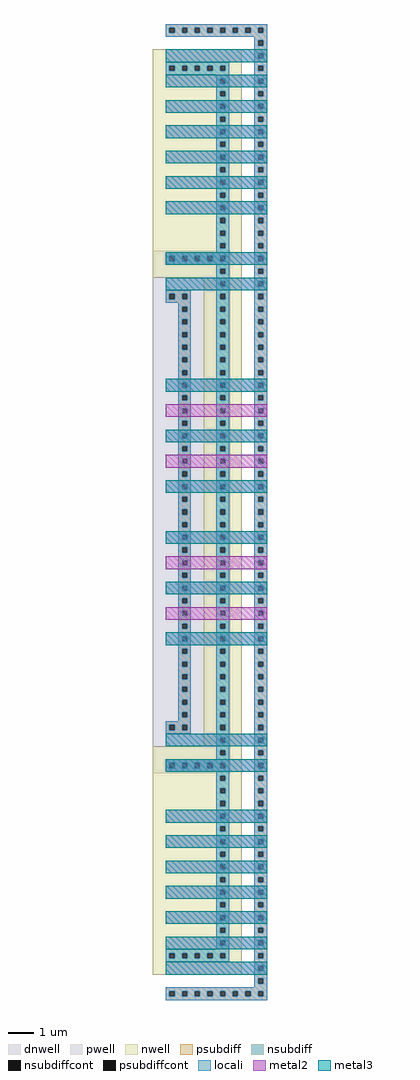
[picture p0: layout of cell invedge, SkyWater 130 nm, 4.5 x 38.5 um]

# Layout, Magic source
magic
tech sky130A
<< dnwell >>
rect 150 1995 455 4055
<< nwell >>
rect 150 3950 500 4850
rect 350 2100 500 3950
rect 150 1200 500 2100
<< pwell >>
rect 200 3850 300 3900
rect 250 2200 300 3850
rect 200 2150 300 2200
<< psubdiff >>
rect 200 4935 600 4950
rect 200 4915 215 4935
rect 235 4915 265 4935
rect 285 4915 315 4935
rect 335 4915 365 4935
rect 385 4915 415 4935
rect 435 4915 465 4935
rect 485 4915 515 4935
rect 535 4915 565 4935
rect 585 4915 600 4935
rect 200 4900 600 4915
rect 550 4885 600 4900
rect 550 4865 565 4885
rect 585 4865 600 4885
rect 550 4835 600 4865
rect 550 4815 565 4835
rect 585 4815 600 4835
rect 200 3885 300 3900
rect 200 3865 215 3885
rect 235 3865 265 3885
rect 285 3865 300 3885
rect 200 3850 300 3865
rect 250 3835 300 3850
rect 250 3815 265 3835
rect 285 3815 300 3835
rect 250 3785 300 3815
rect 250 3765 265 3785
rect 285 3765 300 3785
rect 250 3735 300 3765
rect 250 3715 265 3735
rect 285 3715 300 3735
rect 250 3685 300 3715
rect 250 3665 265 3685
rect 285 3665 300 3685
rect 250 3635 300 3665
rect 250 3615 265 3635
rect 285 3615 300 3635
rect 250 3585 300 3615
rect 250 3565 265 3585
rect 285 3565 300 3585
rect 250 3535 300 3565
rect 250 3515 265 3535
rect 285 3515 300 3535
rect 250 3485 300 3515
rect 250 3465 265 3485
rect 285 3465 300 3485
rect 250 3435 300 3465
rect 250 3415 265 3435
rect 285 3415 300 3435
rect 250 3385 300 3415
rect 250 3365 265 3385
rect 285 3365 300 3385
rect 250 3335 300 3365
rect 250 3315 265 3335
rect 285 3315 300 3335
rect 250 3285 300 3315
rect 250 3265 265 3285
rect 285 3265 300 3285
rect 250 3235 300 3265
rect 250 3215 265 3235
rect 285 3215 300 3235
rect 250 3185 300 3215
rect 250 3165 265 3185
rect 285 3165 300 3185
rect 250 3135 300 3165
rect 250 3115 265 3135
rect 285 3115 300 3135
rect 250 3085 300 3115
rect 250 3065 265 3085
rect 285 3065 300 3085
rect 250 3035 300 3065
rect 250 3015 265 3035
rect 285 3015 300 3035
rect 250 2985 300 3015
rect 250 2965 265 2985
rect 285 2965 300 2985
rect 250 2935 300 2965
rect 250 2915 265 2935
rect 285 2915 300 2935
rect 250 2885 300 2915
rect 250 2865 265 2885
rect 285 2865 300 2885
rect 250 2835 300 2865
rect 250 2815 265 2835
rect 285 2815 300 2835
rect 250 2785 300 2815
rect 250 2765 265 2785
rect 285 2765 300 2785
rect 250 2735 300 2765
rect 250 2715 265 2735
rect 285 2715 300 2735
rect 250 2685 300 2715
rect 250 2665 265 2685
rect 285 2665 300 2685
rect 250 2635 300 2665
rect 250 2615 265 2635
rect 285 2615 300 2635
rect 250 2585 300 2615
rect 250 2565 265 2585
rect 285 2565 300 2585
rect 250 2535 300 2565
rect 250 2515 265 2535
rect 285 2515 300 2535
rect 250 2485 300 2515
rect 250 2465 265 2485
rect 285 2465 300 2485
rect 250 2435 300 2465
rect 250 2415 265 2435
rect 285 2415 300 2435
rect 250 2385 300 2415
rect 250 2365 265 2385
rect 285 2365 300 2385
rect 250 2335 300 2365
rect 250 2315 265 2335
rect 285 2315 300 2335
rect 250 2285 300 2315
rect 250 2265 265 2285
rect 285 2265 300 2285
rect 250 2235 300 2265
rect 250 2215 265 2235
rect 285 2215 300 2235
rect 250 2200 300 2215
rect 200 2185 300 2200
rect 200 2165 215 2185
rect 235 2165 265 2185
rect 285 2165 300 2185
rect 200 2150 300 2165
rect 550 4785 600 4815
rect 550 4765 565 4785
rect 585 4765 600 4785
rect 550 4735 600 4765
rect 550 4715 565 4735
rect 585 4715 600 4735
rect 550 4685 600 4715
rect 550 4665 565 4685
rect 585 4665 600 4685
rect 550 4635 600 4665
rect 550 4615 565 4635
rect 585 4615 600 4635
rect 550 4585 600 4615
rect 550 4565 565 4585
rect 585 4565 600 4585
rect 550 4535 600 4565
rect 550 4515 565 4535
rect 585 4515 600 4535
rect 550 4485 600 4515
rect 550 4465 565 4485
rect 585 4465 600 4485
rect 550 4435 600 4465
rect 550 4415 565 4435
rect 585 4415 600 4435
rect 550 4385 600 4415
rect 550 4365 565 4385
rect 585 4365 600 4385
rect 550 4335 600 4365
rect 550 4315 565 4335
rect 585 4315 600 4335
rect 550 4285 600 4315
rect 550 4265 565 4285
rect 585 4265 600 4285
rect 550 4235 600 4265
rect 550 4215 565 4235
rect 585 4215 600 4235
rect 550 4185 600 4215
rect 550 4165 565 4185
rect 585 4165 600 4185
rect 550 4135 600 4165
rect 550 4115 565 4135
rect 585 4115 600 4135
rect 550 4085 600 4115
rect 550 4065 565 4085
rect 585 4065 600 4085
rect 550 4035 600 4065
rect 550 4015 565 4035
rect 585 4015 600 4035
rect 550 3985 600 4015
rect 550 3965 565 3985
rect 585 3965 600 3985
rect 550 3935 600 3965
rect 550 3915 565 3935
rect 585 3915 600 3935
rect 550 3885 600 3915
rect 550 3865 565 3885
rect 585 3865 600 3885
rect 550 3835 600 3865
rect 550 3815 565 3835
rect 585 3815 600 3835
rect 550 3785 600 3815
rect 550 3765 565 3785
rect 585 3765 600 3785
rect 550 3735 600 3765
rect 550 3715 565 3735
rect 585 3715 600 3735
rect 550 3685 600 3715
rect 550 3665 565 3685
rect 585 3665 600 3685
rect 550 3635 600 3665
rect 550 3615 565 3635
rect 585 3615 600 3635
rect 550 3585 600 3615
rect 550 3565 565 3585
rect 585 3565 600 3585
rect 550 3535 600 3565
rect 550 3515 565 3535
rect 585 3515 600 3535
rect 550 3485 600 3515
rect 550 3465 565 3485
rect 585 3465 600 3485
rect 550 3435 600 3465
rect 550 3415 565 3435
rect 585 3415 600 3435
rect 550 3385 600 3415
rect 550 3365 565 3385
rect 585 3365 600 3385
rect 550 3335 600 3365
rect 550 3315 565 3335
rect 585 3315 600 3335
rect 550 3285 600 3315
rect 550 3265 565 3285
rect 585 3265 600 3285
rect 550 3235 600 3265
rect 550 3215 565 3235
rect 585 3215 600 3235
rect 550 3185 600 3215
rect 550 3165 565 3185
rect 585 3165 600 3185
rect 550 3135 600 3165
rect 550 3115 565 3135
rect 585 3115 600 3135
rect 550 3085 600 3115
rect 550 3065 565 3085
rect 585 3065 600 3085
rect 550 3035 600 3065
rect 550 3015 565 3035
rect 585 3015 600 3035
rect 550 2985 600 3015
rect 550 2965 565 2985
rect 585 2965 600 2985
rect 550 2935 600 2965
rect 550 2915 565 2935
rect 585 2915 600 2935
rect 550 2885 600 2915
rect 550 2865 565 2885
rect 585 2865 600 2885
rect 550 2835 600 2865
rect 550 2815 565 2835
rect 585 2815 600 2835
rect 550 2785 600 2815
rect 550 2765 565 2785
rect 585 2765 600 2785
rect 550 2735 600 2765
rect 550 2715 565 2735
rect 585 2715 600 2735
rect 550 2685 600 2715
rect 550 2665 565 2685
rect 585 2665 600 2685
rect 550 2635 600 2665
rect 550 2615 565 2635
rect 585 2615 600 2635
rect 550 2585 600 2615
rect 550 2565 565 2585
rect 585 2565 600 2585
rect 550 2535 600 2565
rect 550 2515 565 2535
rect 585 2515 600 2535
rect 550 2485 600 2515
rect 550 2465 565 2485
rect 585 2465 600 2485
rect 550 2435 600 2465
rect 550 2415 565 2435
rect 585 2415 600 2435
rect 550 2385 600 2415
rect 550 2365 565 2385
rect 585 2365 600 2385
rect 550 2335 600 2365
rect 550 2315 565 2335
rect 585 2315 600 2335
rect 550 2285 600 2315
rect 550 2265 565 2285
rect 585 2265 600 2285
rect 550 2235 600 2265
rect 550 2215 565 2235
rect 585 2215 600 2235
rect 550 2185 600 2215
rect 550 2165 565 2185
rect 585 2165 600 2185
rect 550 2135 600 2165
rect 550 2115 565 2135
rect 585 2115 600 2135
rect 550 2085 600 2115
rect 550 2065 565 2085
rect 585 2065 600 2085
rect 550 2035 600 2065
rect 550 2015 565 2035
rect 585 2015 600 2035
rect 550 1985 600 2015
rect 550 1965 565 1985
rect 585 1965 600 1985
rect 550 1935 600 1965
rect 550 1915 565 1935
rect 585 1915 600 1935
rect 550 1885 600 1915
rect 550 1865 565 1885
rect 585 1865 600 1885
rect 550 1835 600 1865
rect 550 1815 565 1835
rect 585 1815 600 1835
rect 550 1785 600 1815
rect 550 1765 565 1785
rect 585 1765 600 1785
rect 550 1735 600 1765
rect 550 1715 565 1735
rect 585 1715 600 1735
rect 550 1685 600 1715
rect 550 1665 565 1685
rect 585 1665 600 1685
rect 550 1635 600 1665
rect 550 1615 565 1635
rect 585 1615 600 1635
rect 550 1585 600 1615
rect 550 1565 565 1585
rect 585 1565 600 1585
rect 550 1535 600 1565
rect 550 1515 565 1535
rect 585 1515 600 1535
rect 550 1485 600 1515
rect 550 1465 565 1485
rect 585 1465 600 1485
rect 550 1435 600 1465
rect 550 1415 565 1435
rect 585 1415 600 1435
rect 550 1385 600 1415
rect 550 1365 565 1385
rect 585 1365 600 1385
rect 550 1335 600 1365
rect 550 1315 565 1335
rect 585 1315 600 1335
rect 550 1285 600 1315
rect 550 1265 565 1285
rect 585 1265 600 1285
rect 550 1235 600 1265
rect 550 1215 565 1235
rect 585 1215 600 1235
rect 550 1185 600 1215
rect 550 1165 565 1185
rect 585 1165 600 1185
rect 550 1150 600 1165
rect 200 1135 600 1150
rect 200 1115 215 1135
rect 235 1115 265 1135
rect 285 1115 315 1135
rect 335 1115 365 1135
rect 385 1115 415 1135
rect 435 1115 465 1135
rect 485 1115 515 1135
rect 535 1115 565 1135
rect 585 1115 600 1135
rect 200 1100 600 1115
<< nsubdiff >>
rect 200 4785 450 4800
rect 200 4765 215 4785
rect 235 4765 265 4785
rect 285 4765 315 4785
rect 335 4765 365 4785
rect 385 4765 415 4785
rect 435 4765 450 4785
rect 200 4750 450 4765
rect 400 4735 450 4750
rect 400 4715 415 4735
rect 435 4715 450 4735
rect 400 4685 450 4715
rect 400 4665 415 4685
rect 435 4665 450 4685
rect 400 4635 450 4665
rect 400 4615 415 4635
rect 435 4615 450 4635
rect 400 4585 450 4615
rect 400 4565 415 4585
rect 435 4565 450 4585
rect 400 4535 450 4565
rect 400 4515 415 4535
rect 435 4515 450 4535
rect 400 4485 450 4515
rect 400 4465 415 4485
rect 435 4465 450 4485
rect 400 4435 450 4465
rect 400 4415 415 4435
rect 435 4415 450 4435
rect 400 4385 450 4415
rect 400 4365 415 4385
rect 435 4365 450 4385
rect 400 4335 450 4365
rect 400 4315 415 4335
rect 435 4315 450 4335
rect 400 4285 450 4315
rect 400 4265 415 4285
rect 435 4265 450 4285
rect 400 4235 450 4265
rect 400 4215 415 4235
rect 435 4215 450 4235
rect 400 4185 450 4215
rect 400 4165 415 4185
rect 435 4165 450 4185
rect 400 4135 450 4165
rect 400 4115 415 4135
rect 435 4115 450 4135
rect 400 4085 450 4115
rect 400 4065 415 4085
rect 435 4065 450 4085
rect 400 4050 450 4065
rect 200 4035 450 4050
rect 200 4015 215 4035
rect 235 4015 265 4035
rect 285 4015 315 4035
rect 335 4015 365 4035
rect 385 4015 415 4035
rect 435 4015 450 4035
rect 200 4000 450 4015
rect 400 3985 450 4000
rect 400 3965 415 3985
rect 435 3965 450 3985
rect 400 3935 450 3965
rect 400 3915 415 3935
rect 435 3915 450 3935
rect 400 3885 450 3915
rect 400 3865 415 3885
rect 435 3865 450 3885
rect 400 3835 450 3865
rect 400 3815 415 3835
rect 435 3815 450 3835
rect 400 3785 450 3815
rect 400 3765 415 3785
rect 435 3765 450 3785
rect 400 3735 450 3765
rect 400 3715 415 3735
rect 435 3715 450 3735
rect 400 3685 450 3715
rect 400 3665 415 3685
rect 435 3665 450 3685
rect 400 3635 450 3665
rect 400 3615 415 3635
rect 435 3615 450 3635
rect 400 3585 450 3615
rect 400 3565 415 3585
rect 435 3565 450 3585
rect 400 3535 450 3565
rect 400 3515 415 3535
rect 435 3515 450 3535
rect 400 3485 450 3515
rect 400 3465 415 3485
rect 435 3465 450 3485
rect 400 3435 450 3465
rect 400 3415 415 3435
rect 435 3415 450 3435
rect 400 3385 450 3415
rect 400 3365 415 3385
rect 435 3365 450 3385
rect 400 3335 450 3365
rect 400 3315 415 3335
rect 435 3315 450 3335
rect 400 3285 450 3315
rect 400 3265 415 3285
rect 435 3265 450 3285
rect 400 3235 450 3265
rect 400 3215 415 3235
rect 435 3215 450 3235
rect 400 3185 450 3215
rect 400 3165 415 3185
rect 435 3165 450 3185
rect 400 3135 450 3165
rect 400 3115 415 3135
rect 435 3115 450 3135
rect 400 3085 450 3115
rect 400 3065 415 3085
rect 435 3065 450 3085
rect 400 3035 450 3065
rect 400 3015 415 3035
rect 435 3015 450 3035
rect 400 2985 450 3015
rect 400 2965 415 2985
rect 435 2965 450 2985
rect 400 2935 450 2965
rect 400 2915 415 2935
rect 435 2915 450 2935
rect 400 2885 450 2915
rect 400 2865 415 2885
rect 435 2865 450 2885
rect 400 2835 450 2865
rect 400 2815 415 2835
rect 435 2815 450 2835
rect 400 2785 450 2815
rect 400 2765 415 2785
rect 435 2765 450 2785
rect 400 2735 450 2765
rect 400 2715 415 2735
rect 435 2715 450 2735
rect 400 2685 450 2715
rect 400 2665 415 2685
rect 435 2665 450 2685
rect 400 2635 450 2665
rect 400 2615 415 2635
rect 435 2615 450 2635
rect 400 2585 450 2615
rect 400 2565 415 2585
rect 435 2565 450 2585
rect 400 2535 450 2565
rect 400 2515 415 2535
rect 435 2515 450 2535
rect 400 2485 450 2515
rect 400 2465 415 2485
rect 435 2465 450 2485
rect 400 2435 450 2465
rect 400 2415 415 2435
rect 435 2415 450 2435
rect 400 2385 450 2415
rect 400 2365 415 2385
rect 435 2365 450 2385
rect 400 2335 450 2365
rect 400 2315 415 2335
rect 435 2315 450 2335
rect 400 2285 450 2315
rect 400 2265 415 2285
rect 435 2265 450 2285
rect 400 2235 450 2265
rect 400 2215 415 2235
rect 435 2215 450 2235
rect 400 2185 450 2215
rect 400 2165 415 2185
rect 435 2165 450 2185
rect 400 2135 450 2165
rect 400 2115 415 2135
rect 435 2115 450 2135
rect 400 2085 450 2115
rect 400 2065 415 2085
rect 435 2065 450 2085
rect 400 2050 450 2065
rect 200 2035 450 2050
rect 200 2015 215 2035
rect 235 2015 265 2035
rect 285 2015 315 2035
rect 335 2015 365 2035
rect 385 2015 415 2035
rect 435 2015 450 2035
rect 200 2000 450 2015
rect 400 1985 450 2000
rect 400 1965 415 1985
rect 435 1965 450 1985
rect 400 1935 450 1965
rect 400 1915 415 1935
rect 435 1915 450 1935
rect 400 1885 450 1915
rect 400 1865 415 1885
rect 435 1865 450 1885
rect 400 1835 450 1865
rect 400 1815 415 1835
rect 435 1815 450 1835
rect 400 1785 450 1815
rect 400 1765 415 1785
rect 435 1765 450 1785
rect 400 1735 450 1765
rect 400 1715 415 1735
rect 435 1715 450 1735
rect 400 1685 450 1715
rect 400 1665 415 1685
rect 435 1665 450 1685
rect 400 1635 450 1665
rect 400 1615 415 1635
rect 435 1615 450 1635
rect 400 1585 450 1615
rect 400 1565 415 1585
rect 435 1565 450 1585
rect 400 1535 450 1565
rect 400 1515 415 1535
rect 435 1515 450 1535
rect 400 1485 450 1515
rect 400 1465 415 1485
rect 435 1465 450 1485
rect 400 1435 450 1465
rect 400 1415 415 1435
rect 435 1415 450 1435
rect 400 1385 450 1415
rect 400 1365 415 1385
rect 435 1365 450 1385
rect 400 1335 450 1365
rect 400 1315 415 1335
rect 435 1315 450 1335
rect 400 1300 450 1315
rect 200 1285 450 1300
rect 200 1265 215 1285
rect 235 1265 265 1285
rect 285 1265 315 1285
rect 335 1265 365 1285
rect 385 1265 415 1285
rect 435 1265 450 1285
rect 200 1250 450 1265
<< psubdiffcont >>
rect 215 4915 235 4935
rect 265 4915 285 4935
rect 315 4915 335 4935
rect 365 4915 385 4935
rect 415 4915 435 4935
rect 465 4915 485 4935
rect 515 4915 535 4935
rect 565 4915 585 4935
rect 565 4865 585 4885
rect 565 4815 585 4835
rect 215 3865 235 3885
rect 265 3865 285 3885
rect 265 3815 285 3835
rect 265 3765 285 3785
rect 265 3715 285 3735
rect 265 3665 285 3685
rect 265 3615 285 3635
rect 265 3565 285 3585
rect 265 3515 285 3535
rect 265 3465 285 3485
rect 265 3415 285 3435
rect 265 3365 285 3385
rect 265 3315 285 3335
rect 265 3265 285 3285
rect 265 3215 285 3235
rect 265 3165 285 3185
rect 265 3115 285 3135
rect 265 3065 285 3085
rect 265 3015 285 3035
rect 265 2965 285 2985
rect 265 2915 285 2935
rect 265 2865 285 2885
rect 265 2815 285 2835
rect 265 2765 285 2785
rect 265 2715 285 2735
rect 265 2665 285 2685
rect 265 2615 285 2635
rect 265 2565 285 2585
rect 265 2515 285 2535
rect 265 2465 285 2485
rect 265 2415 285 2435
rect 265 2365 285 2385
rect 265 2315 285 2335
rect 265 2265 285 2285
rect 265 2215 285 2235
rect 215 2165 235 2185
rect 265 2165 285 2185
rect 565 4765 585 4785
rect 565 4715 585 4735
rect 565 4665 585 4685
rect 565 4615 585 4635
rect 565 4565 585 4585
rect 565 4515 585 4535
rect 565 4465 585 4485
rect 565 4415 585 4435
rect 565 4365 585 4385
rect 565 4315 585 4335
rect 565 4265 585 4285
rect 565 4215 585 4235
rect 565 4165 585 4185
rect 565 4115 585 4135
rect 565 4065 585 4085
rect 565 4015 585 4035
rect 565 3965 585 3985
rect 565 3915 585 3935
rect 565 3865 585 3885
rect 565 3815 585 3835
rect 565 3765 585 3785
rect 565 3715 585 3735
rect 565 3665 585 3685
rect 565 3615 585 3635
rect 565 3565 585 3585
rect 565 3515 585 3535
rect 565 3465 585 3485
rect 565 3415 585 3435
rect 565 3365 585 3385
rect 565 3315 585 3335
rect 565 3265 585 3285
rect 565 3215 585 3235
rect 565 3165 585 3185
rect 565 3115 585 3135
rect 565 3065 585 3085
rect 565 3015 585 3035
rect 565 2965 585 2985
rect 565 2915 585 2935
rect 565 2865 585 2885
rect 565 2815 585 2835
rect 565 2765 585 2785
rect 565 2715 585 2735
rect 565 2665 585 2685
rect 565 2615 585 2635
rect 565 2565 585 2585
rect 565 2515 585 2535
rect 565 2465 585 2485
rect 565 2415 585 2435
rect 565 2365 585 2385
rect 565 2315 585 2335
rect 565 2265 585 2285
rect 565 2215 585 2235
rect 565 2165 585 2185
rect 565 2115 585 2135
rect 565 2065 585 2085
rect 565 2015 585 2035
rect 565 1965 585 1985
rect 565 1915 585 1935
rect 565 1865 585 1885
rect 565 1815 585 1835
rect 565 1765 585 1785
rect 565 1715 585 1735
rect 565 1665 585 1685
rect 565 1615 585 1635
rect 565 1565 585 1585
rect 565 1515 585 1535
rect 565 1465 585 1485
rect 565 1415 585 1435
rect 565 1365 585 1385
rect 565 1315 585 1335
rect 565 1265 585 1285
rect 565 1215 585 1235
rect 565 1165 585 1185
rect 215 1115 235 1135
rect 265 1115 285 1135
rect 315 1115 335 1135
rect 365 1115 385 1135
rect 415 1115 435 1135
rect 465 1115 485 1135
rect 515 1115 535 1135
rect 565 1115 585 1135
<< nsubdiffcont >>
rect 215 4765 235 4785
rect 265 4765 285 4785
rect 315 4765 335 4785
rect 365 4765 385 4785
rect 415 4765 435 4785
rect 415 4715 435 4735
rect 415 4665 435 4685
rect 415 4615 435 4635
rect 415 4565 435 4585
rect 415 4515 435 4535
rect 415 4465 435 4485
rect 415 4415 435 4435
rect 415 4365 435 4385
rect 415 4315 435 4335
rect 415 4265 435 4285
rect 415 4215 435 4235
rect 415 4165 435 4185
rect 415 4115 435 4135
rect 415 4065 435 4085
rect 215 4015 235 4035
rect 265 4015 285 4035
rect 315 4015 335 4035
rect 365 4015 385 4035
rect 415 4015 435 4035
rect 415 3965 435 3985
rect 415 3915 435 3935
rect 415 3865 435 3885
rect 415 3815 435 3835
rect 415 3765 435 3785
rect 415 3715 435 3735
rect 415 3665 435 3685
rect 415 3615 435 3635
rect 415 3565 435 3585
rect 415 3515 435 3535
rect 415 3465 435 3485
rect 415 3415 435 3435
rect 415 3365 435 3385
rect 415 3315 435 3335
rect 415 3265 435 3285
rect 415 3215 435 3235
rect 415 3165 435 3185
rect 415 3115 435 3135
rect 415 3065 435 3085
rect 415 3015 435 3035
rect 415 2965 435 2985
rect 415 2915 435 2935
rect 415 2865 435 2885
rect 415 2815 435 2835
rect 415 2765 435 2785
rect 415 2715 435 2735
rect 415 2665 435 2685
rect 415 2615 435 2635
rect 415 2565 435 2585
rect 415 2515 435 2535
rect 415 2465 435 2485
rect 415 2415 435 2435
rect 415 2365 435 2385
rect 415 2315 435 2335
rect 415 2265 435 2285
rect 415 2215 435 2235
rect 415 2165 435 2185
rect 415 2115 435 2135
rect 415 2065 435 2085
rect 215 2015 235 2035
rect 265 2015 285 2035
rect 315 2015 335 2035
rect 365 2015 385 2035
rect 415 2015 435 2035
rect 415 1965 435 1985
rect 415 1915 435 1935
rect 415 1865 435 1885
rect 415 1815 435 1835
rect 415 1765 435 1785
rect 415 1715 435 1735
rect 415 1665 435 1685
rect 415 1615 435 1635
rect 415 1565 435 1585
rect 415 1515 435 1535
rect 415 1465 435 1485
rect 415 1415 435 1435
rect 415 1365 435 1385
rect 415 1315 435 1335
rect 215 1265 235 1285
rect 265 1265 285 1285
rect 315 1265 335 1285
rect 365 1265 385 1285
rect 415 1265 435 1285
<< locali >>
rect 200 4935 600 4950
rect 200 4915 215 4935
rect 235 4915 265 4935
rect 285 4915 315 4935
rect 335 4915 365 4935
rect 385 4915 415 4935
rect 435 4915 465 4935
rect 485 4915 515 4935
rect 535 4915 565 4935
rect 585 4915 600 4935
rect 200 4900 600 4915
rect 550 4885 600 4900
rect 550 4865 565 4885
rect 585 4865 600 4885
rect 550 4835 600 4865
rect 550 4815 565 4835
rect 585 4815 600 4835
rect 200 4785 450 4800
rect 200 4765 215 4785
rect 235 4765 265 4785
rect 285 4765 315 4785
rect 335 4765 365 4785
rect 385 4765 415 4785
rect 435 4765 450 4785
rect 200 4750 450 4765
rect 400 4735 450 4750
rect 400 4715 415 4735
rect 435 4715 450 4735
rect 400 4685 450 4715
rect 400 4665 415 4685
rect 435 4665 450 4685
rect 400 4635 450 4665
rect 400 4615 415 4635
rect 435 4615 450 4635
rect 400 4585 450 4615
rect 400 4565 415 4585
rect 435 4565 450 4585
rect 400 4535 450 4565
rect 400 4515 415 4535
rect 435 4515 450 4535
rect 400 4485 450 4515
rect 400 4465 415 4485
rect 435 4465 450 4485
rect 400 4435 450 4465
rect 400 4415 415 4435
rect 435 4415 450 4435
rect 400 4385 450 4415
rect 400 4365 415 4385
rect 435 4365 450 4385
rect 400 4335 450 4365
rect 400 4315 415 4335
rect 435 4315 450 4335
rect 400 4285 450 4315
rect 400 4265 415 4285
rect 435 4265 450 4285
rect 400 4235 450 4265
rect 400 4215 415 4235
rect 435 4215 450 4235
rect 400 4185 450 4215
rect 400 4165 415 4185
rect 435 4165 450 4185
rect 400 4135 450 4165
rect 400 4115 415 4135
rect 435 4115 450 4135
rect 400 4085 450 4115
rect 400 4065 415 4085
rect 435 4065 450 4085
rect 400 4050 450 4065
rect 200 4035 450 4050
rect 200 4015 215 4035
rect 235 4015 265 4035
rect 285 4015 315 4035
rect 335 4015 365 4035
rect 385 4015 415 4035
rect 435 4015 450 4035
rect 200 4000 450 4015
rect 400 3985 450 4000
rect 400 3965 415 3985
rect 435 3965 450 3985
rect 400 3935 450 3965
rect 400 3915 415 3935
rect 435 3915 450 3935
rect 200 3885 300 3900
rect 200 3865 215 3885
rect 235 3865 265 3885
rect 285 3865 300 3885
rect 200 3850 300 3865
rect 250 3835 300 3850
rect 250 3815 265 3835
rect 285 3815 300 3835
rect 250 3785 300 3815
rect 250 3765 265 3785
rect 285 3765 300 3785
rect 250 3735 300 3765
rect 250 3715 265 3735
rect 285 3715 300 3735
rect 250 3685 300 3715
rect 250 3665 265 3685
rect 285 3665 300 3685
rect 250 3635 300 3665
rect 250 3615 265 3635
rect 285 3615 300 3635
rect 250 3585 300 3615
rect 250 3565 265 3585
rect 285 3565 300 3585
rect 250 3535 300 3565
rect 250 3515 265 3535
rect 285 3515 300 3535
rect 250 3485 300 3515
rect 250 3465 265 3485
rect 285 3465 300 3485
rect 250 3435 300 3465
rect 250 3415 265 3435
rect 285 3415 300 3435
rect 250 3385 300 3415
rect 250 3365 265 3385
rect 285 3365 300 3385
rect 250 3335 300 3365
rect 250 3315 265 3335
rect 285 3315 300 3335
rect 250 3285 300 3315
rect 250 3265 265 3285
rect 285 3265 300 3285
rect 250 3235 300 3265
rect 250 3215 265 3235
rect 285 3215 300 3235
rect 250 3185 300 3215
rect 250 3165 265 3185
rect 285 3165 300 3185
rect 250 3135 300 3165
rect 250 3115 265 3135
rect 285 3115 300 3135
rect 250 3085 300 3115
rect 250 3065 265 3085
rect 285 3065 300 3085
rect 250 3035 300 3065
rect 250 3015 265 3035
rect 285 3015 300 3035
rect 250 2985 300 3015
rect 250 2965 265 2985
rect 285 2965 300 2985
rect 250 2935 300 2965
rect 250 2915 265 2935
rect 285 2915 300 2935
rect 250 2885 300 2915
rect 250 2865 265 2885
rect 285 2865 300 2885
rect 250 2835 300 2865
rect 250 2815 265 2835
rect 285 2815 300 2835
rect 250 2785 300 2815
rect 250 2765 265 2785
rect 285 2765 300 2785
rect 250 2735 300 2765
rect 250 2715 265 2735
rect 285 2715 300 2735
rect 250 2685 300 2715
rect 250 2665 265 2685
rect 285 2665 300 2685
rect 250 2635 300 2665
rect 250 2615 265 2635
rect 285 2615 300 2635
rect 250 2585 300 2615
rect 250 2565 265 2585
rect 285 2565 300 2585
rect 250 2535 300 2565
rect 250 2515 265 2535
rect 285 2515 300 2535
rect 250 2485 300 2515
rect 250 2465 265 2485
rect 285 2465 300 2485
rect 250 2435 300 2465
rect 250 2415 265 2435
rect 285 2415 300 2435
rect 250 2385 300 2415
rect 250 2365 265 2385
rect 285 2365 300 2385
rect 250 2335 300 2365
rect 250 2315 265 2335
rect 285 2315 300 2335
rect 250 2285 300 2315
rect 250 2265 265 2285
rect 285 2265 300 2285
rect 250 2235 300 2265
rect 250 2215 265 2235
rect 285 2215 300 2235
rect 250 2200 300 2215
rect 200 2185 300 2200
rect 200 2165 215 2185
rect 235 2165 265 2185
rect 285 2165 300 2185
rect 200 2150 300 2165
rect 400 3885 450 3915
rect 400 3865 415 3885
rect 435 3865 450 3885
rect 400 3835 450 3865
rect 400 3815 415 3835
rect 435 3815 450 3835
rect 400 3785 450 3815
rect 400 3765 415 3785
rect 435 3765 450 3785
rect 400 3735 450 3765
rect 400 3715 415 3735
rect 435 3715 450 3735
rect 400 3685 450 3715
rect 400 3665 415 3685
rect 435 3665 450 3685
rect 400 3635 450 3665
rect 400 3615 415 3635
rect 435 3615 450 3635
rect 400 3585 450 3615
rect 400 3565 415 3585
rect 435 3565 450 3585
rect 400 3535 450 3565
rect 400 3515 415 3535
rect 435 3515 450 3535
rect 400 3485 450 3515
rect 400 3465 415 3485
rect 435 3465 450 3485
rect 400 3435 450 3465
rect 400 3415 415 3435
rect 435 3415 450 3435
rect 400 3385 450 3415
rect 400 3365 415 3385
rect 435 3365 450 3385
rect 400 3335 450 3365
rect 400 3315 415 3335
rect 435 3315 450 3335
rect 400 3285 450 3315
rect 400 3265 415 3285
rect 435 3265 450 3285
rect 400 3235 450 3265
rect 400 3215 415 3235
rect 435 3215 450 3235
rect 400 3185 450 3215
rect 400 3165 415 3185
rect 435 3165 450 3185
rect 400 3135 450 3165
rect 400 3115 415 3135
rect 435 3115 450 3135
rect 400 3085 450 3115
rect 400 3065 415 3085
rect 435 3065 450 3085
rect 400 3035 450 3065
rect 400 3015 415 3035
rect 435 3015 450 3035
rect 400 2985 450 3015
rect 400 2965 415 2985
rect 435 2965 450 2985
rect 400 2935 450 2965
rect 400 2915 415 2935
rect 435 2915 450 2935
rect 400 2885 450 2915
rect 400 2865 415 2885
rect 435 2865 450 2885
rect 400 2835 450 2865
rect 400 2815 415 2835
rect 435 2815 450 2835
rect 400 2785 450 2815
rect 400 2765 415 2785
rect 435 2765 450 2785
rect 400 2735 450 2765
rect 400 2715 415 2735
rect 435 2715 450 2735
rect 400 2685 450 2715
rect 400 2665 415 2685
rect 435 2665 450 2685
rect 400 2635 450 2665
rect 400 2615 415 2635
rect 435 2615 450 2635
rect 400 2585 450 2615
rect 400 2565 415 2585
rect 435 2565 450 2585
rect 400 2535 450 2565
rect 400 2515 415 2535
rect 435 2515 450 2535
rect 400 2485 450 2515
rect 400 2465 415 2485
rect 435 2465 450 2485
rect 400 2435 450 2465
rect 400 2415 415 2435
rect 435 2415 450 2435
rect 400 2385 450 2415
rect 400 2365 415 2385
rect 435 2365 450 2385
rect 400 2335 450 2365
rect 400 2315 415 2335
rect 435 2315 450 2335
rect 400 2285 450 2315
rect 400 2265 415 2285
rect 435 2265 450 2285
rect 400 2235 450 2265
rect 400 2215 415 2235
rect 435 2215 450 2235
rect 400 2185 450 2215
rect 400 2165 415 2185
rect 435 2165 450 2185
rect 400 2135 450 2165
rect 400 2115 415 2135
rect 435 2115 450 2135
rect 400 2085 450 2115
rect 400 2065 415 2085
rect 435 2065 450 2085
rect 400 2050 450 2065
rect 200 2035 450 2050
rect 200 2015 215 2035
rect 235 2015 265 2035
rect 285 2015 315 2035
rect 335 2015 365 2035
rect 385 2015 415 2035
rect 435 2015 450 2035
rect 200 2000 450 2015
rect 400 1985 450 2000
rect 400 1965 415 1985
rect 435 1965 450 1985
rect 400 1935 450 1965
rect 400 1915 415 1935
rect 435 1915 450 1935
rect 400 1885 450 1915
rect 400 1865 415 1885
rect 435 1865 450 1885
rect 400 1835 450 1865
rect 400 1815 415 1835
rect 435 1815 450 1835
rect 400 1785 450 1815
rect 400 1765 415 1785
rect 435 1765 450 1785
rect 400 1735 450 1765
rect 400 1715 415 1735
rect 435 1715 450 1735
rect 400 1685 450 1715
rect 400 1665 415 1685
rect 435 1665 450 1685
rect 400 1635 450 1665
rect 400 1615 415 1635
rect 435 1615 450 1635
rect 400 1585 450 1615
rect 400 1565 415 1585
rect 435 1565 450 1585
rect 400 1535 450 1565
rect 400 1515 415 1535
rect 435 1515 450 1535
rect 400 1485 450 1515
rect 400 1465 415 1485
rect 435 1465 450 1485
rect 400 1435 450 1465
rect 400 1415 415 1435
rect 435 1415 450 1435
rect 400 1385 450 1415
rect 400 1365 415 1385
rect 435 1365 450 1385
rect 400 1335 450 1365
rect 400 1315 415 1335
rect 435 1315 450 1335
rect 400 1300 450 1315
rect 200 1285 450 1300
rect 200 1265 215 1285
rect 235 1265 265 1285
rect 285 1265 315 1285
rect 335 1265 365 1285
rect 385 1265 415 1285
rect 435 1265 450 1285
rect 200 1250 450 1265
rect 550 4785 600 4815
rect 550 4765 565 4785
rect 585 4765 600 4785
rect 550 4735 600 4765
rect 550 4715 565 4735
rect 585 4715 600 4735
rect 550 4685 600 4715
rect 550 4665 565 4685
rect 585 4665 600 4685
rect 550 4635 600 4665
rect 550 4615 565 4635
rect 585 4615 600 4635
rect 550 4585 600 4615
rect 550 4565 565 4585
rect 585 4565 600 4585
rect 550 4535 600 4565
rect 550 4515 565 4535
rect 585 4515 600 4535
rect 550 4485 600 4515
rect 550 4465 565 4485
rect 585 4465 600 4485
rect 550 4435 600 4465
rect 550 4415 565 4435
rect 585 4415 600 4435
rect 550 4385 600 4415
rect 550 4365 565 4385
rect 585 4365 600 4385
rect 550 4335 600 4365
rect 550 4315 565 4335
rect 585 4315 600 4335
rect 550 4285 600 4315
rect 550 4265 565 4285
rect 585 4265 600 4285
rect 550 4235 600 4265
rect 550 4215 565 4235
rect 585 4215 600 4235
rect 550 4185 600 4215
rect 550 4165 565 4185
rect 585 4165 600 4185
rect 550 4135 600 4165
rect 550 4115 565 4135
rect 585 4115 600 4135
rect 550 4085 600 4115
rect 550 4065 565 4085
rect 585 4065 600 4085
rect 550 4035 600 4065
rect 550 4015 565 4035
rect 585 4015 600 4035
rect 550 3985 600 4015
rect 550 3965 565 3985
rect 585 3965 600 3985
rect 550 3935 600 3965
rect 550 3915 565 3935
rect 585 3915 600 3935
rect 550 3885 600 3915
rect 550 3865 565 3885
rect 585 3865 600 3885
rect 550 3835 600 3865
rect 550 3815 565 3835
rect 585 3815 600 3835
rect 550 3785 600 3815
rect 550 3765 565 3785
rect 585 3765 600 3785
rect 550 3735 600 3765
rect 550 3715 565 3735
rect 585 3715 600 3735
rect 550 3685 600 3715
rect 550 3665 565 3685
rect 585 3665 600 3685
rect 550 3635 600 3665
rect 550 3615 565 3635
rect 585 3615 600 3635
rect 550 3585 600 3615
rect 550 3565 565 3585
rect 585 3565 600 3585
rect 550 3535 600 3565
rect 550 3515 565 3535
rect 585 3515 600 3535
rect 550 3485 600 3515
rect 550 3465 565 3485
rect 585 3465 600 3485
rect 550 3435 600 3465
rect 550 3415 565 3435
rect 585 3415 600 3435
rect 550 3385 600 3415
rect 550 3365 565 3385
rect 585 3365 600 3385
rect 550 3335 600 3365
rect 550 3315 565 3335
rect 585 3315 600 3335
rect 550 3285 600 3315
rect 550 3265 565 3285
rect 585 3265 600 3285
rect 550 3235 600 3265
rect 550 3215 565 3235
rect 585 3215 600 3235
rect 550 3185 600 3215
rect 550 3165 565 3185
rect 585 3165 600 3185
rect 550 3135 600 3165
rect 550 3115 565 3135
rect 585 3115 600 3135
rect 550 3085 600 3115
rect 550 3065 565 3085
rect 585 3065 600 3085
rect 550 3035 600 3065
rect 550 3015 565 3035
rect 585 3015 600 3035
rect 550 2985 600 3015
rect 550 2965 565 2985
rect 585 2965 600 2985
rect 550 2935 600 2965
rect 550 2915 565 2935
rect 585 2915 600 2935
rect 550 2885 600 2915
rect 550 2865 565 2885
rect 585 2865 600 2885
rect 550 2835 600 2865
rect 550 2815 565 2835
rect 585 2815 600 2835
rect 550 2785 600 2815
rect 550 2765 565 2785
rect 585 2765 600 2785
rect 550 2735 600 2765
rect 550 2715 565 2735
rect 585 2715 600 2735
rect 550 2685 600 2715
rect 550 2665 565 2685
rect 585 2665 600 2685
rect 550 2635 600 2665
rect 550 2615 565 2635
rect 585 2615 600 2635
rect 550 2585 600 2615
rect 550 2565 565 2585
rect 585 2565 600 2585
rect 550 2535 600 2565
rect 550 2515 565 2535
rect 585 2515 600 2535
rect 550 2485 600 2515
rect 550 2465 565 2485
rect 585 2465 600 2485
rect 550 2435 600 2465
rect 550 2415 565 2435
rect 585 2415 600 2435
rect 550 2385 600 2415
rect 550 2365 565 2385
rect 585 2365 600 2385
rect 550 2335 600 2365
rect 550 2315 565 2335
rect 585 2315 600 2335
rect 550 2285 600 2315
rect 550 2265 565 2285
rect 585 2265 600 2285
rect 550 2235 600 2265
rect 550 2215 565 2235
rect 585 2215 600 2235
rect 550 2185 600 2215
rect 550 2165 565 2185
rect 585 2165 600 2185
rect 550 2135 600 2165
rect 550 2115 565 2135
rect 585 2115 600 2135
rect 550 2085 600 2115
rect 550 2065 565 2085
rect 585 2065 600 2085
rect 550 2035 600 2065
rect 550 2015 565 2035
rect 585 2015 600 2035
rect 550 1985 600 2015
rect 550 1965 565 1985
rect 585 1965 600 1985
rect 550 1935 600 1965
rect 550 1915 565 1935
rect 585 1915 600 1935
rect 550 1885 600 1915
rect 550 1865 565 1885
rect 585 1865 600 1885
rect 550 1835 600 1865
rect 550 1815 565 1835
rect 585 1815 600 1835
rect 550 1785 600 1815
rect 550 1765 565 1785
rect 585 1765 600 1785
rect 550 1735 600 1765
rect 550 1715 565 1735
rect 585 1715 600 1735
rect 550 1685 600 1715
rect 550 1665 565 1685
rect 585 1665 600 1685
rect 550 1635 600 1665
rect 550 1615 565 1635
rect 585 1615 600 1635
rect 550 1585 600 1615
rect 550 1565 565 1585
rect 585 1565 600 1585
rect 550 1535 600 1565
rect 550 1515 565 1535
rect 585 1515 600 1535
rect 550 1485 600 1515
rect 550 1465 565 1485
rect 585 1465 600 1485
rect 550 1435 600 1465
rect 550 1415 565 1435
rect 585 1415 600 1435
rect 550 1385 600 1415
rect 550 1365 565 1385
rect 585 1365 600 1385
rect 550 1335 600 1365
rect 550 1315 565 1335
rect 585 1315 600 1335
rect 550 1285 600 1315
rect 550 1265 565 1285
rect 585 1265 600 1285
rect 550 1235 600 1265
rect 550 1215 565 1235
rect 585 1215 600 1235
rect 550 1185 600 1215
rect 550 1165 565 1185
rect 585 1165 600 1185
rect 550 1150 600 1165
rect 200 1135 600 1150
rect 200 1115 215 1135
rect 235 1115 265 1135
rect 285 1115 315 1135
rect 335 1115 365 1135
rect 385 1115 415 1135
rect 435 1115 465 1135
rect 485 1115 515 1135
rect 535 1115 565 1135
rect 585 1115 600 1135
rect 200 1100 600 1115
<< metal2 >>
rect 200 4800 600 4850
rect 200 4700 600 4750
rect 200 4600 600 4650
rect 200 4500 600 4550
rect 200 4400 600 4450
rect 200 4300 600 4350
rect 200 4200 600 4250
rect 200 4000 600 4050
rect 200 3900 600 3950
rect 200 3500 600 3550
rect 200 3400 600 3450
rect 200 3300 600 3350
rect 200 3200 600 3250
rect 200 3100 600 3150
rect 200 2900 600 2950
rect 200 2800 600 2850
rect 200 2700 600 2750
rect 200 2600 600 2650
rect 200 2500 600 2550
rect 200 2100 600 2150
rect 200 2000 600 2050
rect 200 1800 600 1850
rect 200 1700 600 1750
rect 200 1600 600 1650
rect 200 1500 600 1550
rect 200 1400 600 1450
rect 200 1300 600 1350
rect 200 1200 600 1250
<< metal3 >>
rect 200 4800 600 4850
rect 200 4700 600 4750
rect 200 4600 600 4650
rect 200 4500 600 4550
rect 200 4400 600 4450
rect 200 4300 600 4350
rect 200 4200 600 4250
rect 200 4000 600 4050
rect 200 3900 600 3950
rect 200 3500 600 3550
rect 200 3300 600 3350
rect 200 3100 600 3150
rect 200 2900 600 2950
rect 200 2700 600 2750
rect 200 2500 600 2550
rect 200 2100 600 2150
rect 200 2000 600 2050
rect 200 1800 600 1850
rect 200 1700 600 1750
rect 200 1600 600 1650
rect 200 1500 600 1550
rect 200 1400 600 1450
rect 200 1300 600 1350
rect 200 1200 600 1250
<< end >>
